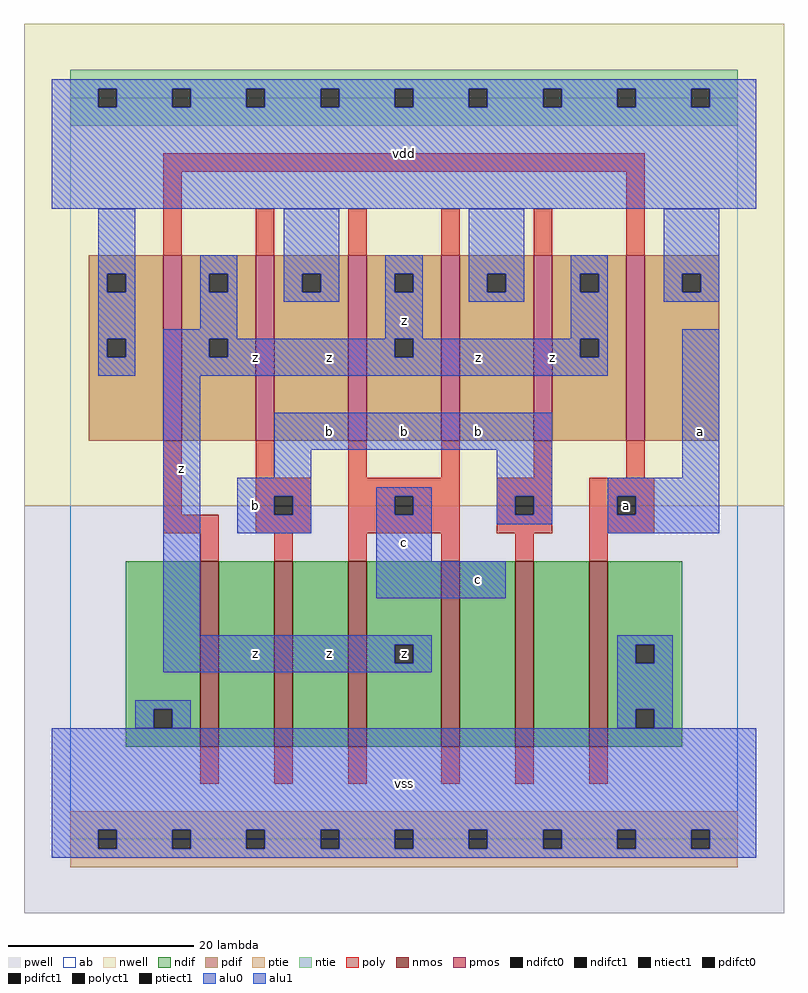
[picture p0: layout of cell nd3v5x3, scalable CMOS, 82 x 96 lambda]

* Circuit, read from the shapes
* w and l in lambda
.subckt nd3v5x3 a b c vdd vss z
M1 n1 a vss vss nfet w=20 l=2
M2 n2 b n1 vss nfet w=20 l=2
M3 z c n2 vss nfet w=20 l=2
M4 n3 c z vss nfet w=20 l=2
M5 n4 b n3 vss nfet w=20 l=2
M6 vss a n4 vss nfet w=20 l=2
M7 z a vdd vdd pfet w=20 l=2 m=2
M8 vdd b z vdd pfet w=20 l=2 m=2
M9 z c vdd vdd pfet w=20 l=2 m=2
.ends

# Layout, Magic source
magic
tech scmos
<< ab >>
rect 0 0 72 80
<< nwell >>
rect -5 36 77 88
<< pwell >>
rect -5 -8 77 36
<< poly >>
rect 10 72 62 74
rect 10 63 12 72
rect 20 63 22 68
rect 30 63 32 68
rect 40 63 42 68
rect 50 63 52 68
rect 60 63 62 72
rect 10 35 12 43
rect 20 39 22 43
rect 30 39 32 43
rect 40 39 42 43
rect 50 39 52 43
rect 60 39 62 43
rect 20 37 26 39
rect 20 35 22 37
rect 24 35 26 37
rect 10 33 16 35
rect 20 33 26 35
rect 30 37 42 39
rect 30 35 35 37
rect 37 35 42 37
rect 30 33 42 35
rect 46 37 52 39
rect 46 35 48 37
rect 50 35 52 37
rect 46 33 52 35
rect 56 37 63 39
rect 56 35 59 37
rect 61 35 63 37
rect 56 33 63 35
rect 14 30 16 33
rect 22 30 24 33
rect 30 30 32 33
rect 40 30 42 33
rect 48 30 50 33
rect 56 30 58 33
rect 14 6 16 10
rect 22 6 24 10
rect 30 6 32 10
rect 40 6 42 10
rect 48 6 50 10
rect 56 6 58 10
<< ndif >>
rect 6 14 14 30
rect 6 12 9 14
rect 11 12 14 14
rect 6 10 14 12
rect 16 10 22 30
rect 24 10 30 30
rect 32 21 40 30
rect 32 19 35 21
rect 37 19 40 21
rect 32 10 40 19
rect 42 10 48 30
rect 50 10 56 30
rect 58 21 66 30
rect 58 19 61 21
rect 63 19 66 21
rect 58 14 66 19
rect 58 12 61 14
rect 63 12 66 14
rect 58 10 66 12
<< pdif >>
rect 2 61 10 63
rect 2 59 4 61
rect 6 59 10 61
rect 2 54 10 59
rect 2 52 4 54
rect 6 52 10 54
rect 2 43 10 52
rect 12 61 20 63
rect 12 59 15 61
rect 17 59 20 61
rect 12 54 20 59
rect 12 52 15 54
rect 17 52 20 54
rect 12 43 20 52
rect 22 61 30 63
rect 22 59 25 61
rect 27 59 30 61
rect 22 43 30 59
rect 32 61 40 63
rect 32 59 35 61
rect 37 59 40 61
rect 32 54 40 59
rect 32 52 35 54
rect 37 52 40 54
rect 32 43 40 52
rect 42 61 50 63
rect 42 59 45 61
rect 47 59 50 61
rect 42 43 50 59
rect 52 61 60 63
rect 52 59 55 61
rect 57 59 60 61
rect 52 54 60 59
rect 52 52 55 54
rect 57 52 60 54
rect 52 43 60 52
rect 62 61 70 63
rect 62 59 66 61
rect 68 59 70 61
rect 62 43 70 59
<< alu1 >>
rect -2 81 74 82
rect -2 79 3 81
rect 5 79 11 81
rect 13 79 19 81
rect 21 79 27 81
rect 29 79 35 81
rect 37 79 43 81
rect 45 79 51 81
rect 53 79 59 81
rect 61 79 67 81
rect 69 79 74 81
rect -2 68 74 79
rect 14 61 18 63
rect 14 59 15 61
rect 17 59 18 61
rect 14 55 18 59
rect 34 61 38 63
rect 34 59 35 61
rect 37 59 38 61
rect 10 54 18 55
rect 34 54 38 59
rect 54 61 58 63
rect 54 59 55 61
rect 57 59 58 61
rect 54 54 58 59
rect 10 52 15 54
rect 17 52 35 54
rect 37 52 55 54
rect 57 52 58 54
rect 10 50 58 52
rect 10 22 14 50
rect 22 42 52 46
rect 22 39 26 42
rect 18 37 26 39
rect 18 35 22 37
rect 24 35 26 37
rect 18 33 26 35
rect 33 37 39 38
rect 33 35 35 37
rect 37 35 39 37
rect 33 30 39 35
rect 46 37 52 42
rect 66 39 70 55
rect 46 35 48 37
rect 50 35 52 37
rect 46 34 52 35
rect 58 37 70 39
rect 58 35 59 37
rect 61 35 70 37
rect 58 33 70 35
rect 33 26 47 30
rect 10 21 39 22
rect 10 19 35 21
rect 37 19 39 21
rect 10 18 39 19
rect -2 1 74 12
rect -2 -1 3 1
rect 5 -1 11 1
rect 13 -1 19 1
rect 21 -1 27 1
rect 29 -1 35 1
rect 37 -1 43 1
rect 45 -1 51 1
rect 53 -1 59 1
rect 61 -1 67 1
rect 69 -1 74 1
rect -2 -2 74 -1
<< ptie >>
rect 0 1 72 3
rect 0 -1 3 1
rect 5 -1 11 1
rect 13 -1 19 1
rect 21 -1 27 1
rect 29 -1 35 1
rect 37 -1 43 1
rect 45 -1 51 1
rect 53 -1 59 1
rect 61 -1 67 1
rect 69 -1 72 1
rect 0 -3 72 -1
<< ntie >>
rect 0 81 72 83
rect 0 79 3 81
rect 5 79 11 81
rect 13 79 19 81
rect 21 79 27 81
rect 29 79 35 81
rect 37 79 43 81
rect 45 79 51 81
rect 53 79 59 81
rect 61 79 67 81
rect 69 79 72 81
rect 0 77 72 79
<< nmos >>
rect 14 10 16 30
rect 22 10 24 30
rect 30 10 32 30
rect 40 10 42 30
rect 48 10 50 30
rect 56 10 58 30
<< pmos >>
rect 10 43 12 63
rect 20 43 22 63
rect 30 43 32 63
rect 40 43 42 63
rect 50 43 52 63
rect 60 43 62 63
<< polyct1 >>
rect 22 35 24 37
rect 35 35 37 37
rect 48 35 50 37
rect 59 35 61 37
<< ndifct0 >>
rect 9 12 11 14
rect 61 19 63 21
rect 61 12 63 14
<< ndifct1 >>
rect 35 19 37 21
<< ntiect1 >>
rect 3 79 5 81
rect 11 79 13 81
rect 19 79 21 81
rect 27 79 29 81
rect 35 79 37 81
rect 43 79 45 81
rect 51 79 53 81
rect 59 79 61 81
rect 67 79 69 81
<< ptiect1 >>
rect 3 -1 5 1
rect 11 -1 13 1
rect 19 -1 21 1
rect 27 -1 29 1
rect 35 -1 37 1
rect 43 -1 45 1
rect 51 -1 53 1
rect 59 -1 61 1
rect 67 -1 69 1
<< pdifct0 >>
rect 4 59 6 61
rect 4 52 6 54
rect 25 59 27 61
rect 45 59 47 61
rect 66 59 68 61
<< pdifct1 >>
rect 15 59 17 61
rect 15 52 17 54
rect 35 59 37 61
rect 35 52 37 54
rect 55 59 57 61
rect 55 52 57 54
<< alu0 >>
rect 3 61 7 68
rect 3 59 4 61
rect 6 59 7 61
rect 3 54 7 59
rect 23 61 29 68
rect 23 59 25 61
rect 27 59 29 61
rect 23 58 29 59
rect 3 52 4 54
rect 6 52 7 54
rect 3 50 7 52
rect 43 61 49 68
rect 43 59 45 61
rect 47 59 49 61
rect 43 58 49 59
rect 64 61 70 68
rect 64 59 66 61
rect 68 59 70 61
rect 64 58 70 59
rect 59 21 65 22
rect 59 19 61 21
rect 63 19 65 21
rect 7 14 13 15
rect 7 12 9 14
rect 11 12 13 14
rect 59 14 65 19
rect 59 12 61 14
rect 63 12 65 14
<< labels >>
rlabel alu1 12 40 12 40 6 z
rlabel alu1 28 20 28 20 6 z
rlabel alu1 20 20 20 20 6 z
rlabel alu1 20 36 20 36 6 b
rlabel alu1 28 44 28 44 6 b
rlabel alu1 20 52 20 52 6 z
rlabel alu1 28 52 28 52 6 z
rlabel alu1 36 6 36 6 6 vss
rlabel ndifct1 36 20 36 20 6 z
rlabel alu1 36 32 36 32 6 c
rlabel alu1 44 28 44 28 6 c
rlabel alu1 44 44 44 44 6 b
rlabel alu1 36 44 36 44 6 b
rlabel alu1 36 56 36 56 6 z
rlabel alu1 44 52 44 52 6 z
rlabel alu1 52 52 52 52 6 z
rlabel alu1 36 74 36 74 6 vdd
rlabel polyct1 60 36 60 36 6 a
rlabel alu1 68 44 68 44 6 a
<< end >>
